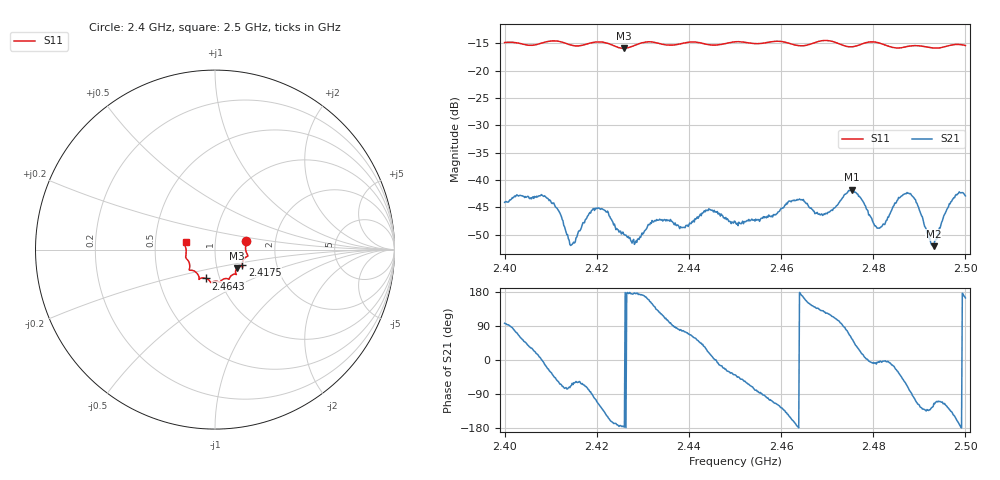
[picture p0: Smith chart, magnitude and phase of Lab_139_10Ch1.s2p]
# Hz S RI R 50
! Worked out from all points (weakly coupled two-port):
!   601 points, 2.4 GHz to 2.5 GHz, reference 50 ohm
!   highest |S21| = -41.81 dB at 2.4753 GHz (marker M1); lowest = -52.1 dB at 2.4932 GHz (marker M2)
!   lowest |S11| = -15.9 dB at 2.4258 GHz (marker M3), VSWR 1.38, Z = 62.3 - j13.2 ohm
!   |S11| at or under -10 dB: start of sweep to end of sweep
!   S12 and S22 are empty: the file has one direction only
!   S11 on the Smith chart (normalised r, x): 2.4 GHz: 1.41, +0.14; 2.4175 GHz: 1.34, -0.23; 2.4643 GHz: 0.86, -0.28; 2.5 GHz: 0.72, +0.06
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2.4e9  0.1736 0.049  -0.000764 0.00618  0 0  0 0
2.409e9  0.181 -0.0285  0.00664 -0.002  0 0  0 0
2.414667e9  0.162 -0.0516  0.00123 -0.00226  0 0  0 0
2.416667e9  0.1528 -0.0739  0.00165 -0.00327  0 0  0 0
2.4175e9  0.1517 -0.0836  0.0015 -0.00404  0 0  0 0
2.421e9  0.1544 -0.0974  -0.00321 -0.00442  0 0  0 0
2.425833e9  0.1219 -0.1032  -0.00318 -0.000234  0 0  0 0
2.428667e9  0.1147 -0.1293  -0.00267 0.000181  0 0  0 0
2.433333e9  0.1135 -0.1371  -0.00273 0.00329  0 0  0 0
2.438667e9  0.0807 -0.1583  0.000792 0.00358  0 0  0 0
2.444667e9  0.0587 -0.1613  0.00519 0.00128  0 0  0 0
2.45e9  0.0284 -0.1812  0.00324 -0.00263  0 0  0 0
2.464333e9  -0.0502 -0.1607  -0.00651 0.000869  0 0  0 0
2.466667e9  -0.0764 -0.1588  -0.00434 0.00321  0 0  0 0
2.4695e9  -0.0889 -0.1661  -0.00288 0.00387  0 0  0 0
2.475333e9  -0.1093 -0.1234  0.00452 0.00675  0 0  0 0
2.480833e9  -0.1434 -0.1102  0.0036 -0.000373  0 0  0 0
2.483333e9  -0.1408 -0.0898  0.00453 -0.000398  0 0  0 0
2.487833e9  -0.1598 -0.0502  0.00134 -0.00734  0 0  0 0
2.493167e9  -0.1605 -0.0119  -0.00102 -0.00225  0 0  0 0
2.497e9  -0.1689 0.0276  -0.00459 -0.0044  0 0  0 0
2.5e9  -0.164 0.0427  -0.00685 0.00199  0 0  0 0
